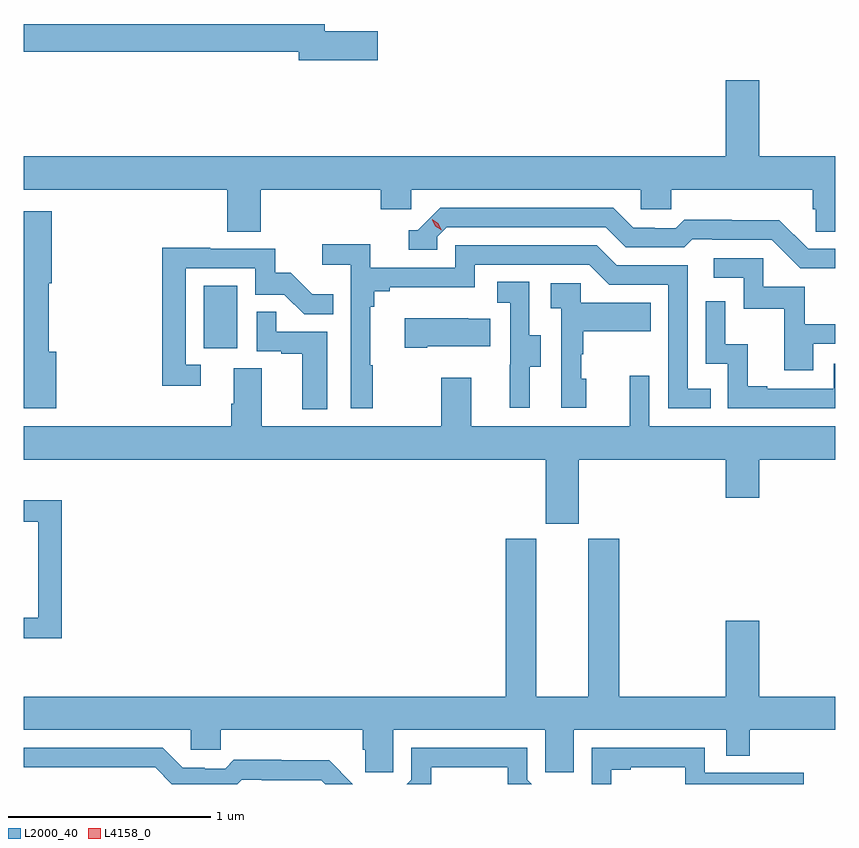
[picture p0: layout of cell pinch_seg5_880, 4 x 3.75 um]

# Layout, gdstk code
import gdstk
lib = gdstk.Library(unit=1e-6, precision=1e-09)
def R(c, l, rs):  # rectangles x0, y0, x1, y1
    for r in rs: c.add(gdstk.rectangle(r[:2], r[2:], *l))
def P(c, l, *ps):  # polygons
    for p in ps: c.add(gdstk.Polygon(p, *l))
L2000_40 = (2000, 40)
L4158_0 = (4158, 0)

pinch_seg5_880 = lib.new_cell('pinch_seg5_880')
R(pinch_seg5_880, L2000_40, [(881.714,878.622,881.878,878.929)])
P(pinch_seg5_880, L2000_40, [(882.571,880.184),(882.31,880.184),(882.31,880.22),(880.827,880.22),(880.827,880.084),(882.182,880.084),(882.182,880.042),(882.571,880.042)],
  [(881.996,879.404),(882.587,879.404),(882.587,879.306),(882.738,879.306),(882.738,879.404),(883.869,879.404),(883.869,879.306),(884.019,879.306),(884.019,879.404),(884.717,879.404),(884.717,879.306),(884.731,879.306),(884.731,879.196),(884.827,879.196),(884.827,879.568),(884.452,879.568),(884.452,879.943),(884.288,879.943),(884.288,879.568),(880.827,879.568),(880.827,879.404),(881.831,879.404),(881.831,879.196),(881.996,879.196)],
  [(884.827,879.111),(884.694,879.111),(884.552,879.253),(884.316,879.253),(884.316,879.256),(884.083,879.256),(884.041,879.213),(883.938,879.213),(883.938,879.216),(883.831,879.216),(883.732,879.315),(882.879,879.315),(882.768,879.204),(882.725,879.204),(882.725,879.108),(882.864,879.108),(882.864,879.171),(882.912,879.219),(883.695,879.219),(883.794,879.12),(884.083,879.12),(884.122,879.159),(884.221,879.159),(884.221,879.156),(884.514,879.156),(884.655,879.015),(884.827,879.015)],
  [(880.988,878.604),(880.951,878.604),(880.951,878.942),(880.964,878.942),(880.964,879.298),(880.827,879.298),(880.827,878.325),(880.988,878.325)],
  [(882.547,878.537),(882.535,878.537),(882.535,878.825),(882.554,878.825),(882.554,878.902),(882.631,878.902),(882.631,878.921),(883.05,878.921),(883.05,879.033),(883.614,879.033),(883.713,878.934),(884.004,878.934),(884.004,878.325),(884.213,878.325),(884.213,878.421),(884.1,878.421),(884.1,879.03),(883.75,879.03),(883.651,879.129),(882.954,879.129),(882.954,879.018),(882.536,879.018),(882.536,879.134),(882.297,879.134),(882.297,879.032),(882.438,879.032),(882.438,878.325),(882.547,878.325)],
  [(881.698,878.541),(881.625,878.541),(881.625,879.015),(881.967,879.015),(881.967,878.886),(882.112,878.886),(882.21,878.788),(882.353,878.788),(882.353,878.887),(882.249,878.887),(882.142,878.994),(882.066,878.994),(882.066,879.111),(881.747,879.111),(881.747,879.116),(881.509,879.116),(881.509,878.436),(881.698,878.436)],
  [(884.719,878.643),(884.827,878.643),(884.827,878.739),(884.677,878.739),(884.677,878.925),(884.472,878.925),(884.472,879.066),(884.229,879.066),(884.229,878.97),(884.376,878.97),(884.376,878.817),(884.575,878.817),(884.575,878.514),(884.719,878.514)],
  [(883.321,878.53),(883.375,878.53),(883.375,878.685),(883.32,878.685),(883.32,878.948),(883.161,878.948),(883.161,878.845),(883.224,878.845),(883.224,878.541),(883.223,878.541),(883.223,878.328),(883.321,878.328)],
  [(883.6,878.472),(883.575,878.472),(883.575,878.591),(883.585,878.591),(883.585,878.705),(883.919,878.705),(883.919,878.845),(883.572,878.845),(883.572,878.943),(883.425,878.943),(883.425,878.819),(883.476,878.819),(883.476,878.328),(883.6,878.328)],
  [(884.827,878.544),(884.82,878.544),(884.82,878.421),(884.491,878.421),(884.491,878.434),(884.396,878.434),(884.396,878.642),(884.286,878.642),(884.286,878.854),(884.19,878.854),(884.19,878.544),(884.298,878.544),(884.298,878.325),(884.827,878.325)],
  [(882.322,878.703),(882.071,878.703),(882.071,878.801),(881.976,878.801),(881.976,878.607),(882.097,878.607),(882.097,878.595),(882.2,878.595),(882.2,878.321),(882.322,878.321)],
  [(882.817,878.63),(883.127,878.63),(883.127,878.767),(883.019,878.767),(883.019,878.77),(882.705,878.77),(882.705,878.623),(882.817,878.623)],
  [(883.564,878.072),(884.288,878.072),(884.288,877.884),(884.452,877.884),(884.452,878.072),(884.827,878.072),(884.827,878.236),(883.911,878.236),(883.911,878.485),(883.814,878.485),(883.814,878.236),(883.033,878.236),(883.033,878.476),(882.886,878.476),(882.886,878.236),(882.001,878.236),(882.001,878.522),(881.861,878.522),(881.861,878.348),(881.849,878.348),(881.849,878.236),(880.827,878.236),(880.827,878.072),(883.4,878.072),(883.4,877.755),(883.564,877.755)],
  [(881.015,877.873),(880.827,877.873),(880.827,877.767),(880.899,877.767),(880.899,877.293),(880.827,877.293),(880.827,877.192),(881.015,877.192)],
  [(882.648,876.74),(883.398,876.74),(883.398,876.532),(883.537,876.532),(883.537,876.74),(884.289,876.74),(884.289,876.613),(884.405,876.613),(884.405,876.74),(884.827,876.74),(884.827,876.904),(884.452,876.904),(884.452,877.279),(884.288,877.279),(884.288,876.904),(883.763,876.904),(883.763,877.683),(883.61,877.683),(883.61,876.904),(883.354,876.904),(883.354,877.683),(883.202,877.683),(883.202,876.904),(880.827,876.904),(880.827,876.74),(881.649,876.74),(881.649,876.642),(881.799,876.642),(881.799,876.74),(882.497,876.74),(882.497,876.642),(882.511,876.642),(882.511,876.532),(882.648,876.532)],
  [(881.902,876.495),(882.001,876.495),(882.001,876.492),(882.294,876.492),(882.313,876.473),(882.448,876.473),(882.332,876.589),(882.096,876.589),(882.096,876.592),(881.863,876.592),(881.821,876.549),(881.718,876.549),(881.718,876.552),(881.611,876.552),(881.512,876.651),(880.827,876.651),(880.827,876.555),(881.475,876.555),(881.557,876.473),(881.88,876.473)],
  [(882.835,876.555),(883.212,876.555),(883.212,876.473),(883.33,876.473),(883.308,876.495),(883.308,876.651),(882.738,876.651),(882.738,876.495),(882.716,876.473),(882.835,876.473)],
  [(883.723,876.543),(883.819,876.543),(883.819,876.555),(884.088,876.555),(884.088,876.473),(884.671,876.473),(884.671,876.528),(884.184,876.528),(884.184,876.651),(883.626,876.651),(883.626,876.473),(883.723,876.473)])
P(pinch_seg5_880, L4158_0, [(882.887,879.204),(882.856,879.224),(882.84,879.256),(882.84,879.257),(882.84,879.257),(882.871,879.237),(882.887,879.204),(882.887,879.204)])

lib.write_gds('pinch_seg5_880.gds')
